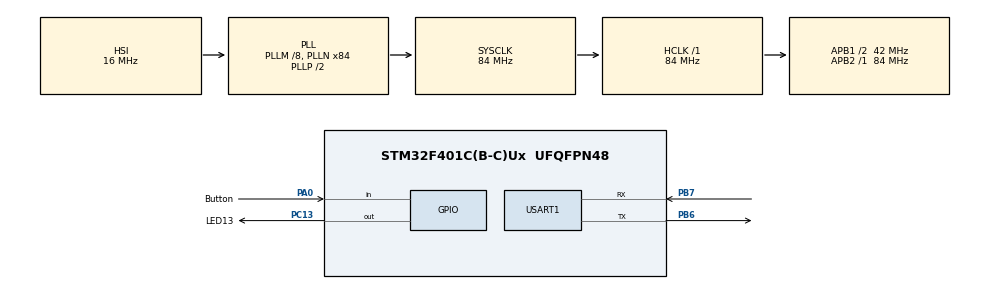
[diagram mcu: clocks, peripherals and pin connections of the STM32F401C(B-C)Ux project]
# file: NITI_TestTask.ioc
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Dma.Request0=USART1_TX
Dma.USART1_TX.0.Direction=DMA_MEMORY_TO_PERIPH
Dma.USART1_TX.0.FIFOMode=DMA_FIFOMODE_DISABLE
Dma.USART1_TX.0.Instance=DMA2_Stream7
Dma.USART1_TX.0.MemDataAlignment=DMA_MDATAALIGN_BYTE
Dma.USART1_TX.0.MemInc=DMA_MINC_ENABLE
Dma.USART1_TX.0.Mode=DMA_NORMAL
Dma.USART1_TX.0.PeriphDataAlignment=DMA_PDATAALIGN_BYTE
Dma.USART1_TX.0.PeriphInc=DMA_PINC_DISABLE
Dma.USART1_TX.0.Priority=DMA_PRIORITY_LOW
FREERTOS.Tasks01=defaultTask,24,128,StartDefaultTask,Default,NULL,Dynamic,NULL,NULL
FREERTOS.configGENERATE_RUN_TIME_STATS=1
FREERTOS.configRECORD_STACK_HIGH_ADDRESS=1
Mcu.Family=STM32F4
Mcu.Name=STM32F401C(B-C)Ux
Mcu.Package=UFQFPN48
NVIC.DMA2_Stream7_IRQn=true\:5\:0\:false\:false\:true\:true\:false\:true\:true
NVIC.PriorityGroup=NVIC_PRIORITYGROUP_4
NVIC.TIM1_UP_TIM10_IRQn=true\:5\:0\:false\:false\:true\:true\:true\:true\:true
NVIC.USART1_IRQn=true\:5\:0\:false\:false\:true\:true\:true\:true\:true
PA0-WKUP.GPIO_Label=Button
PA0-WKUP.Signal=GPIO_Input
PB6.Mode=Asynchronous
PB6.Signal=USART1_TX
PB7.Mode=Asynchronous
PB7.Signal=USART1_RX
PC13-ANTI_TAMP.GPIO_Label=LED13
PC13-ANTI_TAMP.Signal=GPIO_Output
ProjectManager.HeapSize=0x200
ProjectManager.StackSize=0x400
ProjectManager.TargetToolchain=STM32CubeIDE
RCC.48MHZClocksFreq_Value=42000000
RCC.AHBFreq_Value=84000000
RCC.APB1CLKDivider=RCC_HCLK_DIV2
RCC.APB1Freq_Value=42000000
RCC.APB1TimFreq_Value=84000000
RCC.APB2Freq_Value=84000000
RCC.APB2TimFreq_Value=84000000
RCC.CortexFreq_Value=84000000
RCC.HCLKFreq_Value=84000000
RCC.HSE_VALUE=25000000
RCC.HSI_VALUE=16000000
RCC.LSE_VALUE=32768
RCC.PLLM=8
RCC.PLLN=84
RCC.SYSCLKFreq_VALUE=84000000
RCC.SYSCLKSource=RCC_SYSCLKSOURCE_PLLCLK
RCC.VCOOutputFreq_Value=168000000
TIM1.Period=9999
TIM1.Prescaler=8399
USART1.VirtualMode=VM_ASYNC
VP_FREERTOS_VS_CMSIS_V2.Mode=CMSIS_V2
VP_TIM1_VS_ClockSourceINT.Mode=Internal
board=custom

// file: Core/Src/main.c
/* USER CODE BEGIN Header */
/**
 ******************************************************************************
 * @file           : main.c
 * @brief          : Main program body
 ******************************************************************************
 * @attention
 *
 * Copyright (c) 2024 STMicroelectronics.
 * All rights reserved.
 *
 * This software is licensed under terms that can be found in the LICENSE file
 * in the root directory of this software component.
 * If no LICENSE file comes with this software, it is provided AS-IS.
 *
 ******************************************************************************
 */

/*
 * swa - ch7
 * swb - ch8
 * swc - ch9
 * swd - ch10
 * vra - ch5
 * vrb - ch6
 * ljvert - ch1
 * ljhoriz - ch2
 * rjvert - ch3
 * rjhoriz - ch4
 */

/* USER CODE END Header */
#include <ibus.h>
#include "main.h"
#include "cmsis_os.h"

/* USER CODE BEGIN Includes */
#include <string.h>
#include "queue.h"

/* USER CODE END Includes */

 TIM_HandleTypeDef htim1;

UART_HandleTypeDef huart1;
DMA_HandleTypeDef hdma_usart1_tx;

/* Definitions for defaultTask */
osThreadId_t defaultTaskHandle;
const osThreadAttr_t defaultTask_attributes = {
  .name = "defaultTask",
  .stack_size = 128 * 4,
  .priority = (osPriority_t) osPriorityNormal,
};
/* USER CODE BEGIN PV */

osThreadId_t pingTaskHandle;
const osThreadAttr_t pingTask_attributes =
  { .name = "pingTask", .stack_size = 128 * 4, .priority =
      (osPriority_t) osPriorityNormal, };
osThreadId_t sendDataTaskHandle;
const osThreadAttr_t sendDataTask_attributes =
  { .name = "sendDataTask", .stack_size = 128 * 4, .priority =
      (osPriority_t) osPriorityNormal, };

/* Data receiving variables */
IBus_t *ibus;

/* USER CODE END PV */

void SystemClock_Config(void);
static void MX_GPIO_Init(void);
static void MX_DMA_Init(void);
static void MX_TIM1_Init(void);
static void MX_USART1_UART_Init(void);
void StartDefaultTask(void *argument);

/* USER CODE BEGIN PFP */

void
ReceiveDataTask (void *arg);

void
RJVert(void *ibus, uint16_t data);

void
SWA(void *ibus, uint16_t data);

/* USER CODE END PFP */

int main(void)
{

  /* MCU Configuration--------------------------------------------------------*/

  /* Reset of all peripherals, Initializes the Flash interface and the Systick. */
  HAL_Init();

  /* Configure the system clock */
  SystemClock_Config();

  /* Initialize all configured peripherals */
  MX_GPIO_Init();
  MX_DMA_Init();
  MX_TIM1_Init();
  MX_USART1_UART_Init();
  /* USER CODE BEGIN 2 */
  ibus = IBUS_Init(&huart1);

  IBUS_AddCallback(ibus, CH3, RJVert);
  //IBUS_AddCallback(ibus, CH7, SWA);

  HAL_GPIO_WritePin (LED13_GPIO_Port, LED13_Pin, RESET);

  HAL_TIM_Base_Start_IT (&htim1);
  /* USER CODE END 2 */

  /* Init scheduler */
  osKernelInitialize();

  /* Create the thread(s) */
  /* creation of defaultTask */
  defaultTaskHandle = osThreadNew(StartDefaultTask, NULL, &defaultTask_attributes);

  /* Start scheduler */
  osKernelStart();

  /* We should never get here as control is now taken by the scheduler */
  /* Infinite loop */
  while (1)
    {

    }
}

void SystemClock_Config(void)
{
  RCC_OscInitTypeDef RCC_OscInitStruct = {0};
  RCC_ClkInitTypeDef RCC_ClkInitStruct = {0};

  /** Configure the main internal regulator output voltage
  */
  __HAL_RCC_PWR_CLK_ENABLE();
  __HAL_PWR_VOLTAGESCALING_CONFIG(PWR_REGULATOR_VOLTAGE_SCALE2);

  /** Initializes the RCC Oscillators according to the specified parameters
  * in the RCC_OscInitTypeDef structure.
  */
  RCC_OscInitStruct.OscillatorType = RCC_OSCILLATORTYPE_HSI;
  RCC_OscInitStruct.HSIState = RCC_HSI_ON;
  RCC_OscInitStruct.HSICalibrationValue = RCC_HSICALIBRATION_DEFAULT;
  RCC_OscInitStruct.PLL.PLLState = RCC_PLL_ON;
  RCC_OscInitStruct.PLL.PLLSource = RCC_PLLSOURCE_HSI;
  RCC_OscInitStruct.PLL.PLLM = 8;
  RCC_OscInitStruct.PLL.PLLN = 84;
  RCC_OscInitStruct.PLL.PLLP = RCC_PLLP_DIV2;
  RCC_OscInitStruct.PLL.PLLQ = 4;
  if (HAL_RCC_OscConfig(&RCC_OscInitStruct) != HAL_OK)
  {
    Error_Handler();
  }

  /** Initializes the CPU, AHB and APB buses clocks
  */
  RCC_ClkInitStruct.ClockType = RCC_CLOCKTYPE_HCLK|RCC_CLOCKTYPE_SYSCLK
                              |RCC_CLOCKTYPE_PCLK1|RCC_CLOCKTYPE_PCLK2;
  RCC_ClkInitStruct.SYSCLKSource = RCC_SYSCLKSOURCE_PLLCLK;
  RCC_ClkInitStruct.AHBCLKDivider = RCC_SYSCLK_DIV1;
  RCC_ClkInitStruct.APB1CLKDivider = RCC_HCLK_DIV2;
  RCC_ClkInitStruct.APB2CLKDivider = RCC_HCLK_DIV1;

  if (HAL_RCC_ClockConfig(&RCC_ClkInitStruct, FLASH_LATENCY_2) != HAL_OK)
  {
    Error_Handler();
  }
}

static void MX_TIM1_Init(void)
{

  TIM_ClockConfigTypeDef sClockSourceConfig = {0};
  TIM_MasterConfigTypeDef sMasterConfig = {0};

  htim1.Instance = TIM1;
  htim1.Init.Prescaler = 8399;
  htim1.Init.CounterMode = TIM_COUNTERMODE_UP;
  htim1.Init.Period = 9999;
  htim1.Init.ClockDivision = TIM_CLOCKDIVISION_DIV1;
  htim1.Init.RepetitionCounter = 0;
  htim1.Init.AutoReloadPreload = TIM_AUTORELOAD_PRELOAD_DISABLE;
  if (HAL_TIM_Base_Init(&htim1) != HAL_OK)
  {
    Error_Handler();
  }
  sClockSourceConfig.ClockSource = TIM_CLOCKSOURCE_INTERNAL;
  if (HAL_TIM_ConfigClockSource(&htim1, &sClockSourceConfig) != HAL_OK)
  {
    Error_Handler();
  }
  sMasterConfig.MasterOutputTrigger = TIM_TRGO_RESET;
  sMasterConfig.MasterSlaveMode = TIM_MASTERSLAVEMODE_DISABLE;
  if (HAL_TIMEx_MasterConfigSynchronization(&htim1, &sMasterConfig) != HAL_OK)
  {
    Error_Handler();
  }

}

static void MX_USART1_UART_Init(void)
{

  huart1.Instance = USART1;
  huart1.Init.BaudRate = 115200;
  huart1.Init.WordLength = UART_WORDLENGTH_8B;
  huart1.Init.StopBits = UART_STOPBITS_1;
  huart1.Init.Parity = UART_PARITY_NONE;
  huart1.Init.Mode = UART_MODE_TX_RX;
  huart1.Init.HwFlowCtl = UART_HWCONTROL_NONE;
  huart1.Init.OverSampling = UART_OVERSAMPLING_16;
  if (HAL_UART_Init(&huart1) != HAL_OK)
  {
    Error_Handler();
  }

}

static void MX_DMA_Init(void)
{

  /* DMA controller clock enable */
  __HAL_RCC_DMA2_CLK_ENABLE();

  /* DMA interrupt init */
  /* DMA2_Stream7_IRQn interrupt configuration */
  HAL_NVIC_SetPriority(DMA2_Stream7_IRQn, 5, 0);
  HAL_NVIC_EnableIRQ(DMA2_Stream7_IRQn);

}

static void MX_GPIO_Init(void)
{
  GPIO_InitTypeDef GPIO_InitStruct = {0};

  /* GPIO Ports Clock Enable */
  __HAL_RCC_GPIOC_CLK_ENABLE();
  __HAL_RCC_GPIOA_CLK_ENABLE();
  __HAL_RCC_GPIOB_CLK_ENABLE();

  /*Configure GPIO pin Output Level */
  HAL_GPIO_WritePin(LED13_GPIO_Port, LED13_Pin, GPIO_PIN_RESET);

  /*Configure GPIO pin : LED13_Pin */
  GPIO_InitStruct.Pin = LED13_Pin;
  GPIO_InitStruct.Mode = GPIO_MODE_OUTPUT_PP;
  GPIO_InitStruct.Pull = GPIO_NOPULL;
  GPIO_InitStruct.Speed = GPIO_SPEED_FREQ_LOW;
  HAL_GPIO_Init(LED13_GPIO_Port, &GPIO_InitStruct);

  /*Configure GPIO pin : Button_Pin */
  GPIO_InitStruct.Pin = Button_Pin;
  GPIO_InitStruct.Mode = GPIO_MODE_INPUT;
  GPIO_InitStruct.Pull = GPIO_NOPULL;
  HAL_GPIO_Init(Button_GPIO_Port, &GPIO_InitStruct);

}

/* USER CODE BEGIN Header_StartDefaultTask */
/**
 * @brief  Function implementing the defaultTask thread.
 * @param  argument: Not used
 * @retval None
 */

void
RJVert(void* ibus, uint16_t data)
{
  if (data > IBUS_JOY_MAX - 50 && data < IBUS_JOY_MAX)
    {
      HAL_GPIO_WritePin(LED13_GPIO_Port, LED13_Pin, SET);
    }
  else
    {
      HAL_GPIO_WritePin(LED13_GPIO_Port, LED13_Pin, RESET);
    }
}

void
SWA(void* ibus, uint16_t data)
{
  if (data == IBUS_SWITCH_OFF)
    {
      HAL_GPIO_WritePin(LED13_GPIO_Port, LED13_Pin, RESET);
    }
  else
    {
      HAL_GPIO_WritePin(LED13_GPIO_Port, LED13_Pin, SET);
    }
}

void
HAL_UART_RxCpltCallback (UART_HandleTypeDef *huart)
{
  IBUS_Receive_IT(ibus, huart);
}

/* USER CODE END Header_StartDefaultTask */
void StartDefaultTask(void *argument)
{
  /* USER CODE BEGIN 5 */
  /* Infinite loop */
  for (;;)
    {
      IBUS_Receive(ibus);
      osDelay (10);
    }
  /* USER CODE END 5 */
}

void Error_Handler(void)
{
  /* USER CODE BEGIN Error_Handler_Debug */
  /* User can add his own implementation to report the HAL error return state */
  __disable_irq ();
  while (1)
    {
    }
  /* USER CODE END Error_Handler_Debug */
}
